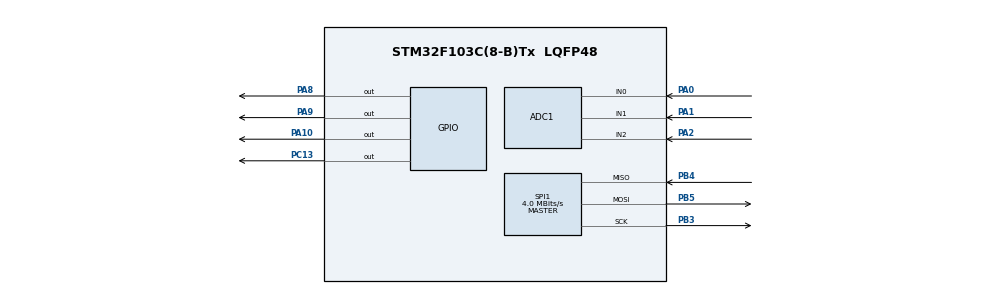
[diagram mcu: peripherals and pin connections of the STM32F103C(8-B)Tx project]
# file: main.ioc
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ADC1.Channel-0\#ChannelRegularConversion=ADC_CHANNEL_0
ADC1.NbrOfConversionFlag=1
ADC1.Rank-0\#ChannelRegularConversion=1
ADC1.SamplingTime-0\#ChannelRegularConversion=ADC_SAMPLETIME_1CYCLE_5
ADC1.master=1
Mcu.Family=STM32F1
Mcu.Name=STM32F103C(8-B)Tx
Mcu.Package=LQFP48
NVIC.PriorityGroup=NVIC_PRIORITYGROUP_4
PA0-WKUP.Signal=ADCx_IN0
PA1.Signal=ADCx_IN1
PA10.Signal=GPIO_Output
PA13.Mode=Serial_Wire
PA13.Signal=SYS_JTMS-SWDIO
PA14.Mode=Serial_Wire
PA14.Signal=SYS_JTCK-SWCLK
PA2.Signal=ADCx_IN2
PA8.Signal=GPIO_Output
PA9.Signal=GPIO_Output
PB3.Mode=Full_Duplex_Master
PB3.Signal=SPI1_SCK
PB4.Mode=Full_Duplex_Master
PB4.Signal=SPI1_MISO
PB5.Mode=Full_Duplex_Master
PB5.Signal=SPI1_MOSI
PC13-TAMPER-RTC.Signal=GPIO_Output
ProjectManager.HeapSize=0x200
ProjectManager.StackSize=0x400
ProjectManager.TargetToolchain=Makefile
RCC.APB1Freq_Value=8000000
RCC.APB2Freq_Value=8000000
SH.ADCx_IN0.0=ADC1_IN0,IN0
SH.ADCx_IN1.0=ADC1_IN1,IN1
SH.ADCx_IN2.0=ADC1_IN2,IN2
SPI1.CalculateBaudRate=4.0 MBits/s
SPI1.Direction=SPI_DIRECTION_2LINES
SPI1.Mode=SPI_MODE_MASTER
SPI1.VirtualType=VM_MASTER
board=blue-pill-blink

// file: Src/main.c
/* USER CODE BEGIN Header */
/**
  ******************************************************************************
  * @file           : main.c
  * @brief          : Main program body
  ******************************************************************************
  ** This notice applies to any and all portions of this file
  * that are not between comment pairs USER CODE BEGIN and
  * USER CODE END. Other portions of this file, whether
  * inserted by the user or by software development tools
  * are owned by their respective copyright owners.
  *
  * COPYRIGHT(c) 2021 STMicroelectronics
  *
  * Redistribution and use in source and binary forms, with or without modification,
  * are permitted provided that the following conditions are met:
  *   1. Redistributions of source code must retain the above copyright notice,
  *      this list of conditions and the following disclaimer.
  *   2. Redistributions in binary form must reproduce the above copyright notice,
  *      this list of conditions and the following disclaimer in the documentation
  *      and/or other materials provided with the distribution.
  *   3. Neither the name of STMicroelectronics nor the names of its contributors
  *      may be used to endorse or promote products derived from this software
  *      without specific prior written permission.
  *
  * THIS SOFTWARE IS PROVIDED BY THE COPYRIGHT HOLDERS AND CONTRIBUTORS "AS IS"
  * AND ANY EXPRESS OR IMPLIED WARRANTIES, INCLUDING, BUT NOT LIMITED TO, THE
  * IMPLIED WARRANTIES OF MERCHANTABILITY AND FITNESS FOR A PARTICULAR PURPOSE ARE
  * DISCLAIMED. IN NO EVENT SHALL THE COPYRIGHT HOLDER OR CONTRIBUTORS BE LIABLE
  * FOR ANY DIRECT, INDIRECT, INCIDENTAL, SPECIAL, EXEMPLARY, OR CONSEQUENTIAL
  * DAMAGES (INCLUDING, BUT NOT LIMITED TO, PROCUREMENT OF SUBSTITUTE GOODS OR
  * SERVICES; LOSS OF USE, DATA, OR PROFITS; OR BUSINESS INTERRUPTION) HOWEVER
  * CAUSED AND ON ANY THEORY OF LIABILITY, WHETHER IN CONTRACT, STRICT LIABILITY,
  * OR TORT (INCLUDING NEGLIGENCE OR OTHERWISE) ARISING IN ANY WAY OUT OF THE USE
  * OF THIS SOFTWARE, EVEN IF ADVISED OF THE POSSIBILITY OF SUCH DAMAGE.
  *
  ******************************************************************************
  */
/* USER CODE END Header */

#include "main.h"

/* USER CODE BEGIN Includes */
#include "st7735.h"
#include "fonts.h"
/* USER CODE END Includes */

ADC_HandleTypeDef hadc1;

SPI_HandleTypeDef hspi1;

/* USER CODE BEGIN PV */
/* Private variables ---------------------------------------------------------*/

/* USER CODE END PV */

void SystemClock_Config(void);
static void MX_GPIO_Init(void);
static void MX_SPI1_Init(void);
static void MX_ADC1_Init(void);
/* USER CODE BEGIN PFP */
/* Private function prototypes -----------------------------------------------*/

/* USER CODE END PFP */

/* USER CODE BEGIN 0 */

void ADC_Select_Channel(uint32_t ch) {
    ADC_ChannelConfTypeDef conf = {
        .Channel = ch,
        .Rank = 1,
        .SamplingTime = ADC_SAMPLETIME_28CYCLES_5,
    };
    if (HAL_ADC_ConfigChannel(&hadc1, &conf) != HAL_OK) {
        Error_Handler();
    }
}

void init() {
    ST7735_Init();
    ST7735_FillScreen(ST7735_BLACK);
}

void loop() {
    uint32_t adc_values[3];
    uint32_t channels[] = {
        ADC_CHANNEL_0,
        ADC_CHANNEL_1,
        ADC_CHANNEL_2,
    };

    for(int i = 0; i < 3; i++) {
        ADC_Select_Channel(channels[i]);
        HAL_ADC_Start(&hadc1);
        HAL_ADC_PollForConversion(&hadc1, HAL_MAX_DELAY);
        adc_values[i] = HAL_ADC_GetValue(&hadc1);
        HAL_ADC_Stop(&hadc1);
    }

    for(int i = 0; i < 3; i++) {
        char buff[16];
        snprintf(buff, sizeof(buff), "CH%d: %04ld", i, adc_values[i]);
        ST7735_WriteString(0, i*18, buff, Font_11x18,
                               ST7735_WHITE, ST7735_BLACK);
    }

    HAL_Delay(100);
}

/* USER CODE END 0 */

int main(void)
{

  /* MCU Configuration--------------------------------------------------------*/

  /* Reset of all peripherals, Initializes the Flash interface and the Systick. */
  HAL_Init();

  /* Configure the system clock */
  SystemClock_Config();

  /* Initialize all configured peripherals */
  MX_GPIO_Init();
  MX_SPI1_Init();
  MX_ADC1_Init();

  /* Infinite loop */
  /* USER CODE BEGIN WHILE */
  init();
  while (1)
  {
    loop();
    /* USER CODE END WHILE */

  }
}

void SystemClock_Config(void)
{
  RCC_OscInitTypeDef RCC_OscInitStruct = {0};
  RCC_ClkInitTypeDef RCC_ClkInitStruct = {0};
  RCC_PeriphCLKInitTypeDef PeriphClkInit = {0};

  /**Initializes the CPU, AHB and APB busses clocks
  */
  RCC_OscInitStruct.OscillatorType = RCC_OSCILLATORTYPE_HSI;
  RCC_OscInitStruct.HSIState = RCC_HSI_ON;
  RCC_OscInitStruct.HSICalibrationValue = RCC_HSICALIBRATION_DEFAULT;
  RCC_OscInitStruct.PLL.PLLState = RCC_PLL_NONE;
  if (HAL_RCC_OscConfig(&RCC_OscInitStruct) != HAL_OK)
  {
    Error_Handler();
  }
  /**Initializes the CPU, AHB and APB busses clocks
  */
  RCC_ClkInitStruct.ClockType = RCC_CLOCKTYPE_HCLK|RCC_CLOCKTYPE_SYSCLK
                              |RCC_CLOCKTYPE_PCLK1|RCC_CLOCKTYPE_PCLK2;
  RCC_ClkInitStruct.SYSCLKSource = RCC_SYSCLKSOURCE_HSI;
  RCC_ClkInitStruct.AHBCLKDivider = RCC_SYSCLK_DIV1;
  RCC_ClkInitStruct.APB1CLKDivider = RCC_HCLK_DIV1;
  RCC_ClkInitStruct.APB2CLKDivider = RCC_HCLK_DIV1;

  if (HAL_RCC_ClockConfig(&RCC_ClkInitStruct, FLASH_LATENCY_0) != HAL_OK)
  {
    Error_Handler();
  }
  PeriphClkInit.PeriphClockSelection = RCC_PERIPHCLK_ADC;
  PeriphClkInit.AdcClockSelection = RCC_ADCPCLK2_DIV2;
  if (HAL_RCCEx_PeriphCLKConfig(&PeriphClkInit) != HAL_OK)
  {
    Error_Handler();
  }
}

static void MX_ADC1_Init(void)
{

  ADC_ChannelConfTypeDef sConfig = {0};

  /**Common config
  */
  hadc1.Instance = ADC1;
  hadc1.Init.ScanConvMode = ADC_SCAN_DISABLE;
  hadc1.Init.ContinuousConvMode = DISABLE;
  hadc1.Init.DiscontinuousConvMode = DISABLE;
  hadc1.Init.ExternalTrigConv = ADC_SOFTWARE_START;
  hadc1.Init.DataAlign = ADC_DATAALIGN_RIGHT;
  hadc1.Init.NbrOfConversion = 1;
  if (HAL_ADC_Init(&hadc1) != HAL_OK)
  {
    Error_Handler();
  }
  /**Configure Regular Channel
  */
  sConfig.Channel = ADC_CHANNEL_0;
  sConfig.Rank = ADC_REGULAR_RANK_1;
  sConfig.SamplingTime = ADC_SAMPLETIME_1CYCLE_5;
  if (HAL_ADC_ConfigChannel(&hadc1, &sConfig) != HAL_OK)
  {
    Error_Handler();
  }

}

static void MX_SPI1_Init(void)
{

  /* SPI1 parameter configuration*/
  hspi1.Instance = SPI1;
  hspi1.Init.Mode = SPI_MODE_MASTER;
  hspi1.Init.Direction = SPI_DIRECTION_2LINES;
  hspi1.Init.DataSize = SPI_DATASIZE_8BIT;
  hspi1.Init.CLKPolarity = SPI_POLARITY_LOW;
  hspi1.Init.CLKPhase = SPI_PHASE_1EDGE;
  hspi1.Init.NSS = SPI_NSS_SOFT;
  hspi1.Init.BaudRatePrescaler = SPI_BAUDRATEPRESCALER_2;
  hspi1.Init.FirstBit = SPI_FIRSTBIT_MSB;
  hspi1.Init.TIMode = SPI_TIMODE_DISABLE;
  hspi1.Init.CRCCalculation = SPI_CRCCALCULATION_DISABLE;
  hspi1.Init.CRCPolynomial = 10;
  if (HAL_SPI_Init(&hspi1) != HAL_OK)
  {
    Error_Handler();
  }

}

static void MX_GPIO_Init(void)
{
  GPIO_InitTypeDef GPIO_InitStruct = {0};

  /* GPIO Ports Clock Enable */
  __HAL_RCC_GPIOC_CLK_ENABLE();
  __HAL_RCC_GPIOA_CLK_ENABLE();

  /*Configure GPIO pin Output Level */
  HAL_GPIO_WritePin(GPIOC, GPIO_PIN_13, GPIO_PIN_RESET);

  /*Configure GPIO pin Output Level */
  HAL_GPIO_WritePin(GPIOA, GPIO_PIN_8|GPIO_PIN_9|GPIO_PIN_10, GPIO_PIN_RESET);

  /*Configure GPIO pin : PC13 */
  GPIO_InitStruct.Pin = GPIO_PIN_13;
  GPIO_InitStruct.Mode = GPIO_MODE_OUTPUT_PP;
  GPIO_InitStruct.Pull = GPIO_NOPULL;
  GPIO_InitStruct.Speed = GPIO_SPEED_FREQ_LOW;
  HAL_GPIO_Init(GPIOC, &GPIO_InitStruct);

  /*Configure GPIO pins : PA8 PA9 PA10 */
  GPIO_InitStruct.Pin = GPIO_PIN_8|GPIO_PIN_9|GPIO_PIN_10;
  GPIO_InitStruct.Mode = GPIO_MODE_OUTPUT_PP;
  GPIO_InitStruct.Pull = GPIO_NOPULL;
  GPIO_InitStruct.Speed = GPIO_SPEED_FREQ_LOW;
  HAL_GPIO_Init(GPIOA, &GPIO_InitStruct);

}

void Error_Handler(void)
{
  while(1)
  {
  }
}

/************************ (C) COPYRIGHT STMicroelectronics *****END OF FILE****/
